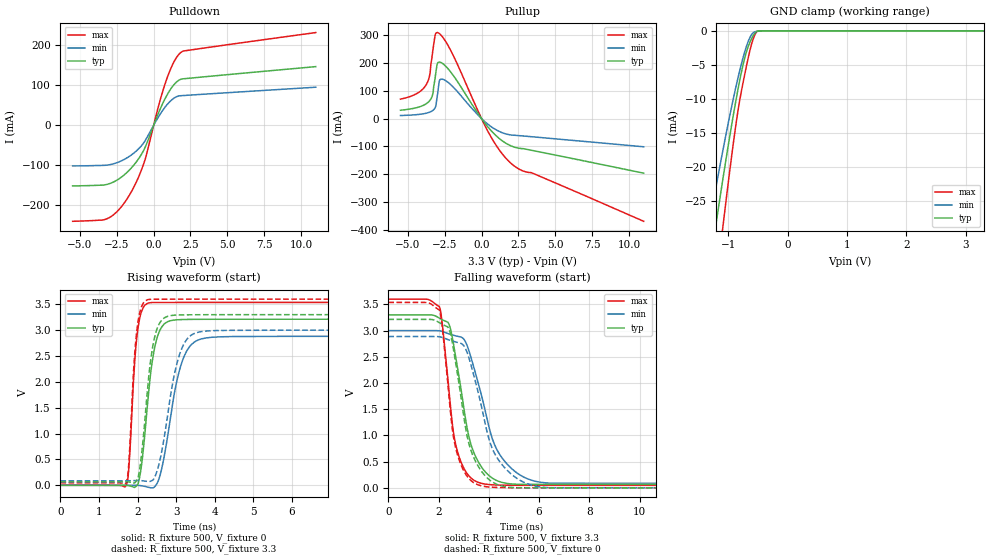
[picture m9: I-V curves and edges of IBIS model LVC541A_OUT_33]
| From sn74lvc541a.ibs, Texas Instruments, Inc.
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[Model]   LVC541A_OUT_33
Model_type  3-state
Enable   Active-Low
Vref =   0
Rref =   500
Cref =   50p
Vmeas =   1.5
| variable   typ   min   max
C_comp   5.03pF   4.63pF   6.44pF
| C_pullup   6.90pF   5.31pF   8.36pF
| C_pulldown   5.99pF   4.66pF   6.98pF
| C_tri-state   5.03pF   4.63pF   6.44pF
[Temperature Range]   40   100   -40
| Ambient temperature   25   85   -40
[Voltage range]   3.3   3   3.6
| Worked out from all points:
|   slope of the pulldown table from 0 to 0.495 V, typ, clamps not added: 11 ohm
|   slope of the pullup table from 0 to 0.495 V, typ, clamps not added: 14.5 ohm
|   GND clamp passes 1 mA (typ) near -0.60 V on its own axis
|   rising waveform, R_fixture 500, V_fixture 0: 20-80 % time 278ps typ, 423ps min, 171ps max; typ from 0 V to 3.21 V
|   falling waveform, R_fixture 500, V_fixture 3.3: 20-80 % time 746ps typ, 1.06ns min, 516ps max; typ from 3.3 V to 0.066 V
|   rising waveform, R_fixture 500, V_fixture 3.3: 20-80 % time 266ps typ, 413ps min, 166ps max; typ from 0.066 V to 3.3 V
|   falling waveform, R_fixture 500, V_fixture 0: 20-80 % time 728ps typ, 1.02ns min, 511ps max; typ from 3.21 V to 0 V
[GND Clamp]
| LVC541A_OUT_33
|   Voltage   I(typ)   I(min)   I(max)
-5.5V     -321.8mA   -262.7mA   -422.4mA
-1.355V   -37.32mA   -30.22mA   -49.17mA
-1.305V   -34.31mA   -27.76mA   -45.23mA
-1.215V   -28.98mA   -23.42mA   -38.25mA
-1.17V    -26.37mA   -21.3mA    -34.83mA
-1.085V   -21.55mA   -17.38mA   -28.5mA
-900mV    -11.72mA   -9.434mA   -15.67mA
-795mV    -6.829mA   -5.47mA    -9.688mA
-645mV    -1.908mA   -1.189mA   -3.285mA
-570mV    -599.3uA   -225.6uA   -977.1uA
-510mV    -54.34uA   -73.72uA   -75.86uA
3.3V      71.56pA    44.29nA    -6.187nA
[Pulldown]
| LVC541A_OUT_33
|   Voltage   I(typ)   I(min)   I(max)
-5.5V     -151.6mA   -101.7mA   -240mA
-3.17V    -147.8mA   -99.54mA   -233.7mA
-2.48V    -136.8mA   -93.31mA   -215.5mA
-1.78V    -116.7mA   -80.7mA    -182.6mA
-1.145V   -90.02mA   -63.14mA   -139.4mA
-620mV    -58.26mA   -40.83mA   -90.12mA
365mV     33.96mA    23.35mA    52.81mA
950mV     78.47mA    53.33mA    122.1mA
1.415V    103.1mA    68.75mA    161.2mA
1.85V     115.1mA    74.02mA    182.2mA
2.08V     116.5mA    74.59mA    186.2mA
11V       146.7mA    95.24mA    231.9mA
[Pullup]
| LVC541A_OUT_33
|   Voltage   I(typ)   I(min)   I(max)
-5.5V     30.22mA    11.21mA    70.1mA
-3.74V    54.11mA    19.74mA    123.7mA
-3.525V   64.35mA    23.26mA    155.5mA
-3.345V   81.96mA    28.06mA    229.6mA
-3.145V   149.4mA    39.79mA    301.8mA
-3.02V    194.7mA    75.94mA    309.6mA
-2.935V   202.6mA    109.6mA    308.5mA
-2.82V    203.1mA    140.1mA    304.1mA
-2.415V   187.6mA    135.9mA    275.6mA
430mV     -29.94mA   -20.25mA   -45.85mA
1.955V    -97.05mA   -58.5mA    -158.8mA
11V       -196.1mA   -101.2mA   -369.3mA
[Ramp]
| LVC541A_OUT_33
| variable   typ   min   max
dV/dt_r   1.95/2.84E-10   1.76/4.34E-10   2.14/1.76E-10
dV/dt_f   1.94/7.50E-10   1.75/1.06E-09   2.13/5.22E-10
R_load = 500
[Rising Waveform]
| LVC541A_OUT_33
R_fixture =   500
C_fixture =   0
L_fixture =   0
V_fixture =   0
V_fixture_min = 0
V_fixture_max = 0
|   Time   V(typ)   V(min)   V(max)
0s        855.7pV    3.029nV    95.64nV
1.705ns   -1.109mV   -714.7uV   -3.053mV
1.77ns    -6.86mV    -702.5uV   315.8mV
1.915ns   -41.57mV   -50.01uV   2.285V
2.005ns   22.15mV    -1.463mV   3.017V
2.355ns   2.269V     -48.51mV   3.533V
2.62ns    3.056V     310mV      3.534V
3.19ns    3.206V     2.466V     3.536V
3.91ns    3.211V     2.862V     3.537V
50ns      3.212V     2.881V     3.537V
[Falling Waveform]
| LVC541A_OUT_33
R_fixture =   500
C_fixture =   0
L_fixture =   0
V_fixture =   3.3
V_fixture_min = 3
V_fixture_max = 3.6
|   Time   V(typ)   V(min)   V(max)
0s        3.3V       3V         3.6V
2.025ns   3.24V      2.996V     3.461V
2.425ns   3.109V     2.935V     1.798V
2.72ns    2.385V     2.895V     749.7mV
3.25ns    893.4mV    2.551V     206.7mV
3.875ns   296.4mV    1.43V      70.54mV
4.22ns    162.4mV    834.2mV    56.23mV
4.685ns   87.6mV     476.4mV    50.78mV
6.33ns    66.28mV    92.61mV    48.36mV
50ns      66.11mV    86.65mV    46.54mV
[Rising Waveform]
| LVC541A_OUT_33
R_fixture =   500
C_fixture =   0
L_fixture =   0
V_fixture =   3.3
V_fixture_min = 3
V_fixture_max = 3.6
|   Time   V(typ)   V(min)   V(max)
0s        66.09mV    86.6mV     46.53mV
1.705ns   67.97mV    87.3mV     57.38mV
1.77ns    64.56mV    87.8mV     415.6mV
1.98ns    102.4mV    91.8mV     2.997V
2.1ns     586.4mV    89.43mV    3.452V
2.285ns   2.084V     73.8mV     3.594V
2.55ns    3.11V      399.5mV    3.598V
3.12ns    3.295V     2.6V       3.599V
3.775ns   3.299V     2.983V     3.6V
50ns      3.3V       3V         3.6V
[Falling Waveform]
| LVC541A_OUT_33
R_fixture =   500
C_fixture =   0
L_fixture =   0
V_fixture =   0
V_fixture_min = 0
V_fixture_max = 0
|   Time   V(typ)   V(min)   V(max)
0s        3.213V     2.886V     3.537V
2.025ns   3.152V     2.882V     3.395V
2.145ns   3.119V     2.869V     3.068V
2.425ns   3.015V     2.82V      1.683V
2.71ns    2.294V     2.779V     703.2mV
3.205ns   848.7mV    2.483V     179.9mV
3.87ns    221.2mV    1.194V     23.96mV
4.715ns   17.72mV    342.4mV    4.058mV
6.31ns    184.8uV    5.235mV    1.837mV
50ns      23.91uV    49.53uV    8.417uV
